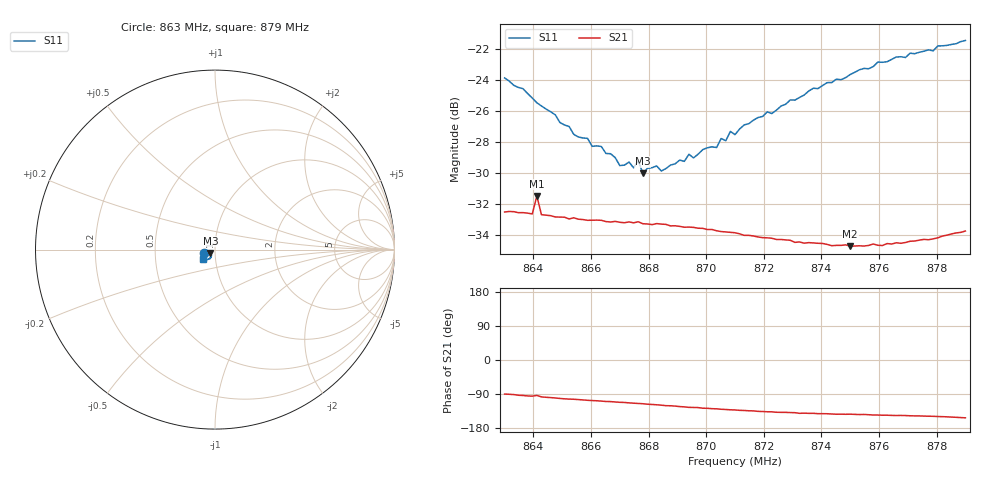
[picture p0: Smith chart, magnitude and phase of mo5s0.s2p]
# HZ S RI R 50
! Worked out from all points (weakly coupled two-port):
!   101 points, 863 MHz to 879 MHz, reference 50 ohm
!   highest |S21| = -31.48 dB at 864.12 MHz (marker M1); lowest = -34.7 dB at 875 MHz (marker M2)
!   lowest |S11| = -30.0 dB at 867.8 MHz (marker M3), VSWR 1.07, Z = 47.5 - j1.79 ohm
!   |S11| at or under -10 dB: start of sweep to end of sweep
!   S12 and S22 are empty: the file has one direction only
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8.63e8  -0.0615 -0.0175  3.5e-05 -0.0237  0 0  0 0
8.6396e8  -0.0534 -0.0135  -0.00219 -0.0232  0 0  0 0
8.6412e8  -0.0496 -0.0192  -0.00167 -0.0266  0 0  0 0
8.6428e8  -0.0499 -0.0145  -0.00295 -0.023  0 0  0 0
8.6572e8  -0.0382 -0.0147  -0.00594 -0.0216  0 0  0 0
8.6636e8  -0.0359 -0.0139  -0.00705 -0.0211  0 0  0 0
8.67e8  -0.0294 -0.0158  -0.00809 -0.0204  0 0  0 0
8.6732e8  -0.029 -0.0183  -0.00865 -0.0202  0 0  0 0
8.6748e8  -0.0273 -0.0182  -0.00888 -0.02  0 0  0 0
8.6764e8  -0.0281 -0.0204  -0.00921 -0.02  0 0  0 0
8.678e8  -0.0253 -0.0188  -0.00931 -0.0196  0 0  0 0
8.6828e8  -0.0242 -0.0229  -0.0103 -0.0192  0 0  0 0
8.6844e8  -0.0228 -0.0226  -0.0106 -0.0189  0 0  0 0
8.694e8  -0.0216 -0.0292  -0.0121 -0.0174  0 0  0 0
8.6956e8  -0.0206 -0.0287  -0.0122 -0.0173  0 0  0 0
8.7036e8  -0.0199 -0.0326  -0.0129 -0.0161  0 0  0 0
8.7084e8  -0.022 -0.037  -0.0135 -0.0153  0 0  0 0
8.71e8  -0.0207 -0.0365  -0.0135 -0.0152  0 0  0 0
8.7372e8  -0.0298 -0.0512  -0.0146 -0.0119  0 0  0 0
8.75e8  -0.0372 -0.0539  -0.0147 -0.0111  0 0  0 0
8.7644e8  -0.0482 -0.0552  -0.0155 -0.0104  0 0  0 0
8.79e8  -0.0681 -0.0497  -0.0183 -0.00947  0 0  0 0
